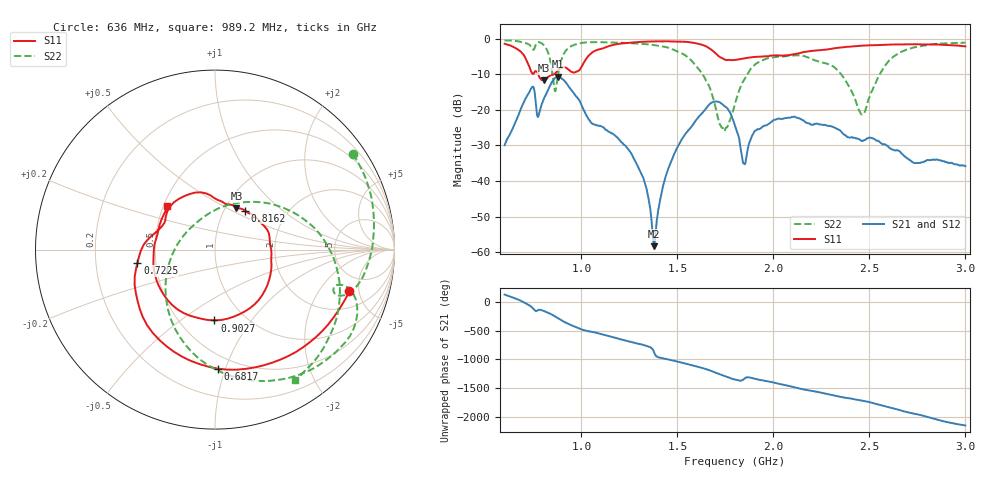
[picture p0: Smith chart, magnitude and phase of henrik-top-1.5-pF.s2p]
#  HZ  S  RI  R  50.00
! Rohde & Schwarz ZVB8 2Ports - Version 2.81 - 1145.1010k08 SN: 100113
! Date: 2016-04-20 02:48:30
! Measurements: S11 S21 S12 S22
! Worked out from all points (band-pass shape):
!   1000 points, 600 MHz to 3 GHz, reference 50 ohm
!   highest |S21| = -10.71 dB at 876.3 MHz (marker M1); lowest = -58.3 dB at 1.378 GHz (marker M2)
!   |S21| within 3 dB of the highest: 742.3 MHz to 750.4 MHz (8.036 MHz wide, 1.08 % of centre); 832.1 MHz to 936.4 MHz (104.3 MHz wide, 11.8 % of centre)
!   lowest |S11| = -11.7 dB at 806.6 MHz (marker M3), VSWR 1.70, Z = 56.3 + j27.8 ohm
!   |S11| at or under -10 dB: 775.4 MHz to 858.8 MHz (83.35 MHz wide, 10.2 % of centre)
!   |S22| runs from -26.0 to -0.5 dB; largest |S21 - S12| = 0.0031
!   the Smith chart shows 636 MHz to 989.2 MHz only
!   S11 on the Smith chart (normalised r, x): 636 MHz: 3.29, -3.98; 681.7 MHz: 0.40, -0.94; 722.5 MHz: 0.39, -0.07; 816.2 MHz: 1.25, +0.59; 902.7 MHz: 0.73, -0.68; 989.2 MHz: 0.52, +0.29
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6e8  0.7494 0.389  -0.0189 0.0255  -0.0189 0.0254  0.5649 0.7511
6.36036e8  0.7493 -0.2322  0.00614 0.05  0.00619 0.05  0.7682 0.5316
6.816817e8  0.0164 -0.6635  0.0907 0.0392  0.0906 0.0393  0.885 0.1712
7.225225e8  -0.4323 -0.0736  0.1065 -0.1277  0.1062 -0.1279  0.8239 -0.1523
8.066066e8  0.1193 0.2303  -0.1404 -0.0467  -0.1406 -0.0467  0.3125 -0.7304
8.162162e8  0.1676 0.2174  -0.1657 -0.0176  -0.1659 -0.0175  0.1335 -0.7167
8.762763e8  0.2894 -0.2038  0.0661 0.2839  0.066 0.2836  0.1202 0.2589
9.027027e8  -0.00307 -0.3944  0.2407 0.116  0.2408 0.1163  0.5529 0.1214
9.891892e8  -0.2662 0.2414  -0.0321 -0.1317  -0.0323 -0.1315  0.447 -0.7271
1.001201e9  -0.2502 0.3153  -0.0579 -0.1004  -0.0579 -0.1002  0.363 -0.7875
1.157357e9  0.7729 -0.2172  -0.0182 0.0431  -0.0181 0.0431  -0.7112 -0.5219
1.265465e9  0.0415 -0.8814  0.022 0.00611  0.022 0.00597  -0.8227 0.2397
1.378378e9  -0.7967 -0.4435  -0.00108 -0.000552  -0.00102 -0.000497  -0.212 0.7796
1.4e9  -0.8708 -0.2773  -0.00175 0.00344  -0.00177 0.00344  -0.0493 0.7893
1.58018e9  -0.2749 0.83  0.0561 -0.0251  0.0561 -0.0249  0.441 -0.1555
1.801201e9  0.3952 0.3075  0.00149 0.0583  0.00148 0.0583  -0.1162 -0.0463
1.942943e9  0.5587 0.00812  0.0131 0.0563  0.0132 0.0562  0.1936 0.4541
2.2e9  0.1434 -0.6549  -0.0169 -0.0592  -0.017 -0.0592  0.3199 -0.4035
2.464264e9  -0.788 -0.1024  0.00409 0.036  0.00425 0.036  0.0228 -0.0835
2.601201e9  -0.6154 0.544  0.0253 -0.0157  0.0253 -0.0157  0.2238 -0.4309
2.75015e9  0.0471 0.8289  -0.0163 -0.00757  -0.0163 -0.0075  -0.4878 -0.5909
3e9  0.7764 -0.0148  0.0157 0.00354  0.0157 0.00363  -0.5387 0.6918
